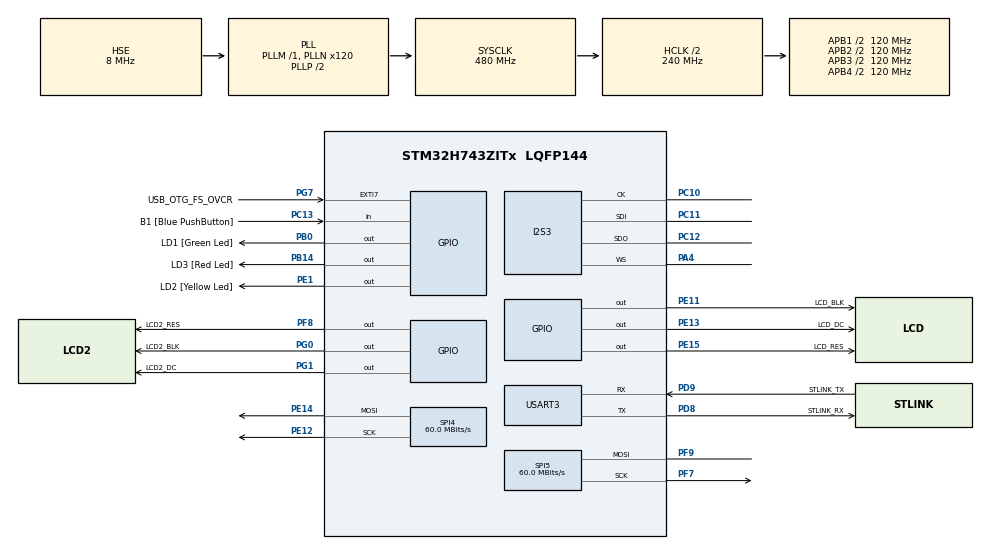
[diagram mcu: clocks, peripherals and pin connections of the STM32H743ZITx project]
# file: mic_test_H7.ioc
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CORTEX_M7.CPU_DCache=Enabled
CORTEX_M7.CPU_ICache=Enabled
Dma.Request0=SPI4_TX
Dma.Request1=SPI5_TX
Dma.Request2=SPI3_RX
Dma.SPI3_RX.2.Direction=DMA_PERIPH_TO_MEMORY
Dma.SPI3_RX.2.EventEnable=DISABLE
Dma.SPI3_RX.2.FIFOMode=DMA_FIFOMODE_DISABLE
Dma.SPI3_RX.2.Instance=DMA1_Stream2
Dma.SPI3_RX.2.MemDataAlignment=DMA_MDATAALIGN_WORD
Dma.SPI3_RX.2.MemInc=DMA_MINC_ENABLE
Dma.SPI3_RX.2.Mode=DMA_CIRCULAR
Dma.SPI3_RX.2.PeriphDataAlignment=DMA_PDATAALIGN_WORD
Dma.SPI3_RX.2.PeriphInc=DMA_PINC_DISABLE
Dma.SPI3_RX.2.Polarity=HAL_DMAMUX_REQ_GEN_RISING
Dma.SPI3_RX.2.Priority=DMA_PRIORITY_LOW
Dma.SPI3_RX.2.RequestNumber=1
Dma.SPI3_RX.2.SignalID=NONE
Dma.SPI3_RX.2.SyncEnable=DISABLE
Dma.SPI3_RX.2.SyncPolarity=HAL_DMAMUX_SYNC_NO_EVENT
Dma.SPI3_RX.2.SyncRequestNumber=1
Dma.SPI3_RX.2.SyncSignalID=NONE
Dma.SPI4_TX.0.Direction=DMA_MEMORY_TO_PERIPH
Dma.SPI4_TX.0.EventEnable=DISABLE
Dma.SPI4_TX.0.FIFOMode=DMA_FIFOMODE_DISABLE
Dma.SPI4_TX.0.Instance=DMA1_Stream0
Dma.SPI4_TX.0.MemDataAlignment=DMA_MDATAALIGN_BYTE
Dma.SPI4_TX.0.MemInc=DMA_MINC_ENABLE
Dma.SPI4_TX.0.Mode=DMA_NORMAL
Dma.SPI4_TX.0.PeriphDataAlignment=DMA_PDATAALIGN_BYTE
Dma.SPI4_TX.0.PeriphInc=DMA_PINC_DISABLE
Dma.SPI4_TX.0.Polarity=HAL_DMAMUX_REQ_GEN_RISING
Dma.SPI4_TX.0.Priority=DMA_PRIORITY_MEDIUM
Dma.SPI4_TX.0.RequestNumber=1
Dma.SPI4_TX.0.SignalID=NONE
Dma.SPI4_TX.0.SyncEnable=DISABLE
Dma.SPI4_TX.0.SyncPolarity=HAL_DMAMUX_SYNC_NO_EVENT
Dma.SPI4_TX.0.SyncRequestNumber=1
Dma.SPI4_TX.0.SyncSignalID=NONE
Dma.SPI5_TX.1.Direction=DMA_MEMORY_TO_PERIPH
Dma.SPI5_TX.1.EventEnable=DISABLE
Dma.SPI5_TX.1.FIFOMode=DMA_FIFOMODE_DISABLE
Dma.SPI5_TX.1.Instance=DMA1_Stream1
Dma.SPI5_TX.1.MemDataAlignment=DMA_MDATAALIGN_BYTE
Dma.SPI5_TX.1.MemInc=DMA_MINC_ENABLE
Dma.SPI5_TX.1.Mode=DMA_NORMAL
Dma.SPI5_TX.1.PeriphDataAlignment=DMA_PDATAALIGN_BYTE
Dma.SPI5_TX.1.PeriphInc=DMA_PINC_DISABLE
Dma.SPI5_TX.1.Polarity=HAL_DMAMUX_REQ_GEN_RISING
Dma.SPI5_TX.1.Priority=DMA_PRIORITY_LOW
Dma.SPI5_TX.1.RequestNumber=1
Dma.SPI5_TX.1.SignalID=NONE
Dma.SPI5_TX.1.SyncEnable=DISABLE
Dma.SPI5_TX.1.SyncPolarity=HAL_DMAMUX_SYNC_NO_EVENT
Dma.SPI5_TX.1.SyncRequestNumber=1
Dma.SPI5_TX.1.SyncSignalID=NONE
I2S3.AudioFreq=I2S_AUDIOFREQ_48K
I2S3.CPOL=I2S_CPOL_LOW
I2S3.Data24BitAlignment=I2S_DATA_24BIT_ALIGNMENT_LEFT
I2S3.DataFormat=I2S_DATAFORMAT_24B
I2S3.ErrorAudioFreq=0.15 %
I2S3.FullDuplexMode=I2S_MODE_MASTER_FD
I2S3.Instance=SPI$Index
I2S3.Mode=I2S_MODE_MASTER_RX
I2S3.RealAudioFreq=48.076 KHz
I2S3.Standard=I2S_STANDARD_PHILIPS
I2S3.VirtualMode=I2S_MODE_MASTER
I2S3.WSInversion=I2S_WS_INVERSION_DISABLE
Mcu.Family=STM32H7
Mcu.Name=STM32H743ZITx
Mcu.Package=LQFP144
NVIC.DMA1_Stream0_IRQn=true\:0\:0\:false\:false\:true\:false\:true
NVIC.DMA1_Stream1_IRQn=true\:0\:0\:false\:false\:true\:false\:true
NVIC.DMA1_Stream2_IRQn=true\:0\:0\:false\:false\:true\:false\:true
NVIC.PriorityGroup=NVIC_PRIORITYGROUP_4
NVIC.SPI4_IRQn=true\:0\:0\:false\:false\:true\:false\:true
NVIC.SPI5_IRQn=true\:0\:0\:false\:false\:true\:false\:true
PA1.Signal=ETH_REF_CLK
PA11.Signal=USB_OTG_FS_DM
PA12.Signal=USB_OTG_FS_DP
PA13\ (JTMS/SWDIO).Mode=Trace_Asynchronous_SW
PA13\ (JTMS/SWDIO).Signal=DEBUG_JTMS-SWDIO
PA14\ (JTCK/SWCLK).Mode=Trace_Asynchronous_SW
PA14\ (JTCK/SWCLK).Signal=DEBUG_JTCK-SWCLK
PA2.Signal=ETH_MDIO
PA4.Mode=Full_Duplex_Master
PA4.Signal=I2S3_WS
PA7.Signal=ETH_CRS_DV
PA8.Signal=USB_OTG_FS_SOF
PA9.Signal=USB_OTG_FS_VBUS
PB0.GPIO_Label=LD1 [Green Led]
PB0.Signal=GPIO_Output
PB10.Signal=I2S2_CK
PB14.GPIO_Label=LD3 [Red Led]
PB14.Signal=GPIO_Output
PB15.Signal=I2S2_SDO
PB3\ (JTDO/TRACESWO).Mode=Trace_Asynchronous_SW
PB3\ (JTDO/TRACESWO).Signal=DEBUG_JTDO-SWO
PC1.Signal=ETH_MDC
PC10.Mode=Full_Duplex_Master
PC10.Signal=I2S3_CK
PC11.Mode=Full_Duplex_Master
PC11.Signal=I2S3_SDI
PC12.GPIO_PuPd=GPIO_PULLDOWN
PC12.Mode=Full_Duplex_Master
PC12.Signal=I2S3_SDO
PC13.GPIO_Label=B1 [Blue PushButton]
PC13.Signal=GPIO_Input
PC14-OSC32_IN\ (OSC32_IN).Signal=RCC_OSC32_IN
PC15-OSC32_OUT\ (OSC32_OUT).Signal=RCC_OSC32_OUT
PC4.Signal=ETH_RXD0
PC5.Signal=ETH_RXD1
PD8.GPIO_Label=STLINK_RX
PD8.Mode=Asynchronous
PD8.Signal=USART3_TX
PD9.GPIO_Label=STLINK_TX
PD9.Mode=Asynchronous
PD9.Signal=USART3_RX
PE1.GPIO_Label=LD2 [Yellow Led]
PE1.GPIO_PuPd=GPIO_NOPULL
PE1.Signal=GPIO_Output
PE11.GPIO_Label=LCD_BLK
PE11.GPIO_PuPd=GPIO_PULLDOWN
PE11.GPIO_Speed=GPIO_SPEED_FREQ_MEDIUM
PE11.Signal=GPIO_Output
PE12.GPIO_PuPd=GPIO_PULLUP
PE12.GPIO_Speed=GPIO_SPEED_FREQ_MEDIUM
PE12.Mode=TX_Only_Simplex_Unidirect_Master
PE12.Signal=SPI4_SCK
PE13.GPIO_Label=LCD_DC
PE13.GPIO_PuPd=GPIO_PULLDOWN
PE13.GPIO_Speed=GPIO_SPEED_FREQ_MEDIUM
PE13.Signal=GPIO_Output
PE14.GPIO_PuPd=GPIO_PULLUP
PE14.GPIO_Speed=GPIO_SPEED_FREQ_MEDIUM
PE14.Mode=TX_Only_Simplex_Unidirect_Master
PE14.Signal=SPI4_MOSI
PE15.GPIO_Label=LCD_RES
PE15.GPIO_PuPd=GPIO_PULLDOWN
PE15.GPIO_Speed=GPIO_SPEED_FREQ_MEDIUM
PE15.Signal=GPIO_Output
PF7.GPIO_PuPd=GPIO_PULLUP
PF7.GPIO_Speed=GPIO_SPEED_FREQ_MEDIUM
PF7.Mode=Simplex_Bidirectional_Master
PF7.Signal=SPI5_SCK
PF8.GPIO_Label=LCD2_RES
PF8.GPIO_PuPd=GPIO_PULLDOWN
PF8.GPIO_Speed=GPIO_SPEED_FREQ_HIGH
PF8.Signal=GPIO_Output
PF9.GPIO_PuPd=GPIO_PULLUP
PF9.GPIO_Speed=GPIO_SPEED_FREQ_MEDIUM
PF9.Mode=Simplex_Bidirectional_Master
PF9.Signal=SPI5_MOSI
PG0.GPIO_Label=LCD2_BLK
PG0.GPIO_PuPd=GPIO_PULLDOWN
PG0.GPIO_Speed=GPIO_SPEED_FREQ_HIGH
PG0.Signal=GPIO_Output
PG1.GPIO_Label=LCD2_DC
PG1.GPIO_PuPd=GPIO_PULLDOWN
PG1.GPIO_Speed=GPIO_SPEED_FREQ_HIGH
PG1.Signal=GPIO_Output
PG11.Signal=ETH_TX_EN
PG13.Signal=ETH_TXD0
PG7.GPIO_Label=USB_OTG_FS_OVCR
PG7.Signal=GPXTI7
PH0-OSC_IN\ (PH0).Mode=HSE-External-Oscillator
PH0-OSC_IN\ (PH0).Signal=RCC_OSC_IN
PH1-OSC_OUT\ (PH1).Mode=HSE-External-Oscillator
PH1-OSC_OUT\ (PH1).Signal=RCC_OSC_OUT
ProjectManager.HeapSize=0x2000
ProjectManager.StackSize=0x4000
ProjectManager.TargetToolchain=STM32CubeIDE
RCC.ADCFreq_Value=96000000
RCC.APB1Freq_Value=120000000
RCC.APB2Freq_Value=120000000
RCC.APB3Freq_Value=120000000
RCC.APB4Freq_Value=120000000
RCC.CortexFreq_Value=480000000
RCC.D1PPRE=RCC_APB3_DIV2
RCC.D2PPRE1=RCC_APB1_DIV2
RCC.D2PPRE2=RCC_APB2_DIV2
RCC.D3PPRE=RCC_APB4_DIV2
RCC.DIVM1=1
RCC.DIVM2=1
RCC.DIVN1=120
RCC.DIVN2=24
RCC.HCLKFreq_Value=240000000
RCC.HPRE=RCC_HCLK_DIV2
RCC.HSE_VALUE=8000000
RCC.PLL2FRACN=0
RCC.PLL3FRACN=0
RCC.PLLFRACN=0
RCC.PLLSourceVirtual=RCC_PLLSOURCE_HSE
RCC.SYSCLKFreq_VALUE=480000000
RCC.SYSCLKSource=RCC_SYSCLKSOURCE_PLLCLK
RCC.USBFreq_Value=480000000
SPI4.BaudRatePrescaler=SPI_BAUDRATEPRESCALER_2
SPI4.CLKPhase=SPI_PHASE_2EDGE
SPI4.CLKPolarity=SPI_POLARITY_HIGH
SPI4.CalculateBaudRate=60.0 MBits/s
SPI4.DataSize=SPI_DATASIZE_8BIT
SPI4.Direction=SPI_DIRECTION_2LINES_TXONLY
SPI4.FifoThreshold=SPI_FIFO_THRESHOLD_01DATA
SPI4.MasterInterDataIdleness=SPI_MASTER_INTERDATA_IDLENESS_00CYCLE
SPI4.Mode=SPI_MODE_MASTER
SPI4.VirtualType=VM_MASTER
SPI5.BaudRatePrescaler=SPI_BAUDRATEPRESCALER_2
SPI5.CLKPhase=SPI_PHASE_2EDGE
SPI5.CLKPolarity=SPI_POLARITY_HIGH
SPI5.CalculateBaudRate=60.0 MBits/s
SPI5.DataSize=SPI_DATASIZE_8BIT
SPI5.Direction=SPI_DIRECTION_1LINE
SPI5.MasterInterDataIdleness=SPI_MASTER_INTERDATA_IDLENESS_00CYCLE
SPI5.Mode=SPI_MODE_MASTER
SPI5.VirtualType=VM_MASTER
USART3.VirtualMode-Asynchronous=VM_ASYNC
board=NUCLEO-H743ZI2

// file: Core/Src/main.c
/* USER CODE BEGIN Header */
/**
 ******************************************************************************
 * @file           : main.c
 * @brief          : Main program body
 ******************************************************************************
 * @attention
 *
 * <h2><center>&copy; Copyright (c) 2020 STMicroelectronics.
 * All rights reserved.</center></h2>
 *
 * This software component is licensed by ST under BSD 3-Clause license,
 * the "License"; You may not use this file except in compliance with the
 * License. You may obtain a copy of the License at:
 *                        opensource.org/licenses/BSD-3-Clause
 *
 ******************************************************************************
 */
/* USER CODE END Header */
#include "main.h"
#include "dma.h"
#include "i2s.h"
#include "spi.h"
#include "usart.h"
#include "gpio.h"

/* USER CODE BEGIN Includes */
#include "st7789.h"
#include "perlin_noise.h"
/* USER CODE END Includes */

/* USER CODE BEGIN PTD */

void uart_send_char(u8 val)
    {
    HAL_UART_Transmit(&huart3, &val, 1, 0xFFFF);
    }

void Uart_IntWrite(s32 value)
    {
    s32 i;

    if (value < 0)
	{
	uart_send_char('-');
	value = -value;
	}

    i = 1;
    while ((value / i) > 9)
	{
	i *= 10;
	}

    uart_send_char(value / i + '0'); /* Display at least one symbol */
    i /= 10;

    while (i > 0)
	{
	uart_send_char('0' + ((value % (i * 10)) / i));
	i /= 10;
	}
    }
/* USER CODE END PTD */

/* USER CODE BEGIN PM */
uint32_t PCM_rx_buf[128];
/* USER CODE END PM */

/* USER CODE BEGIN PV */
volatile u32 flag = 0;
void HAL_I2S_RxCpltCallback(I2S_HandleTypeDef *hi2s)
    {
    flag = 1;
//    LD3_GPIO_Port->ODR &= ~ LD3_Pin;
//    HAL_Delay(1);
//    for (u32 i = 0;i<128;i++)
//	{
//	if (PCM_rx_buf[i] != 0)
//	    {
//	    LD3_GPIO_Port->ODR ^= LD3_Pin;
//	    }
//	}
//    LD2_GPIO_Port->ODR ^= LD2_Pin;
    }
/* USER CODE END PV */

void SystemClock_Config(void);
/* USER CODE BEGIN PFP */
LCD_str LCD1;
LCD_str LCD2;
/* USER CODE END PFP */

int main(void)
{

  /* Enable I-Cache---------------------------------------------------------*/
  SCB_EnableICache();

  /* Enable D-Cache---------------------------------------------------------*/
  SCB_EnableDCache();

  /* MCU Configuration--------------------------------------------------------*/

  /* Reset of all peripherals, Initializes the Flash interface and the Systick. */
  HAL_Init();

  /* Configure the system clock */
  SystemClock_Config();

  /* Initialize all configured peripherals */
  MX_GPIO_Init();
  MX_DMA_Init();
  MX_USART3_UART_Init();
  MX_I2S3_Init();
  MX_SPI4_Init();
  MX_SPI5_Init();
  /* USER CODE BEGIN 2 */
    LCD1.LCD_blk_pin = LCD_BLK_Pin;
    LCD1.LCD_dc_pin = LCD_DC_Pin;
    LCD1.LCD_res_pin = LCD_RES_Pin;
    LCD1.LCD_blk_port = LCD_BLK_GPIO_Port;
    LCD1.LCD_dc_port = LCD_DC_GPIO_Port;
    LCD1.LCD_res_port = LCD_RES_GPIO_Port;
    LCD1.spi_str = &hspi4;

    LCD2.LCD_blk_pin = LCD2_BLK_Pin;
    LCD2.LCD_dc_pin = LCD2_DC_Pin;
    LCD2.LCD_res_pin = LCD2_RES_Pin;
    LCD2.LCD_blk_port = LCD2_BLK_GPIO_Port;
    LCD2.LCD_dc_port = LCD2_DC_GPIO_Port;
    LCD2.LCD_res_port = LCD2_RES_GPIO_Port;
    LCD2.spi_str = &hspi5;
    HAL_Delay(10);
    ST7789_Init(&LCD1);
    ST7789_Init(&LCD2);
//  SPI3->I2SCFGR |= SPI_I2SCFGR_CKPOL;
    HAL_I2S_Receive_DMA(&hi2s3, (u16*)PCM_rx_buf, 128 * 2);
  /* USER CODE END 2 */

  /* Infinite loop */
  /* USER CODE BEGIN WHILE */
    // u16 i = 1;
    for (volatile u16 x = 0; x < 240; x++)
	{
	for (u16 y = 0; y < 240; y++)
	    {
	    u8 r = (u8) ((Noise(x * 0.01, y * 0.01) + 0.5) * 0xF7);
	    u8 g = (u8) ((Noise(x * 0.1, y * 0.1) + 0.5) * 0xF7);
	    u8 b = (u8) ((Noise(x * 0.03, y * 0.03) + 0.5) * 0xF7);

	    ST7789_DrawPixel(x, y,
		    RGB565(Noise_treshold(r, 200, 250, -100, 255),
			    Noise_treshold(r, 150, 200, 255, 0),
			    Noise_treshold(r, 0, 150, 255, 0)), &LCD1);
//	    ST7789_DrawPixel(x, y,
//		    HSV_to_RGB565(
//			    Noise_combine(0.1, 0, 0.51, 0, 0.03, 0.7, 360, x, y)
//				    , 255, 220), &LCD1);
	    ST7789_DrawPixel(x, y,
		    HSV_to_RGB565(250, 200,
			    Noise_combine(0.1, 0, 0.51, 0, 0.017, 1, 255, x,
				    y)), &LCD2);
	    }
	}
    u16 color_buf[240] =
	{
	0
	};
//
//    u32 y_ord = 0;
//    u32 x_ord = 0;
//    float Noise_k = 0.03;
    uint16_t data_in[2];
    while (1)
	{
	if (flag != 0)
	    {
	    flag = 0;
	    for (u32 i = 0; i < 32; i++)
		{
		Uart_IntWrite(PCM_rx_buf[i]);
		uart_send_char('\n');
		}
	    uart_send_char('\n');
	    //HAL_I2S_Receive_DMA(&hi2s3, (u16*) PCM_rx_buf, 128);
	    LD1_GPIO_Port->ODR ^= LD1_Pin;
	    }
//	HAL_I2S_Receive_DMA(&hi2s3, PCM_rx_buf, 128);
//	volatile HAL_StatusTypeDef result = HAL_I2S_Receive_DMA(&hi2s3,
//		(u16*) PCM_rx_buf, 128);//, 100);
//	if (result == HAL_OK)
//	    {
//	    volatile int32_t data_full = (int32_t) PCM_rx_buf[0] << 16
//		    | PCM_rx_buf[1];
//	    if (data_full < 50000)
//		{
//		LD2_GPIO_Port->ODR |= LD2_Pin;
//		}
//	    else
//		{
//		LD2_GPIO_Port->ODR &= ~ LD2_Pin;
//		}
//	    if (data_full > 50000)
//		{
//		LD3_GPIO_Port->ODR |= LD3_Pin;
//		}
//	    else
//		{
//		LD3_GPIO_Port->ODR &= ~ LD3_Pin;
//		}
//	    color_buf[data_full / 500] = MAGENTA;
//	    //ST7789_FillLine(10, color_buf, &LCD1);
//	    for (u32 i = 0; i < 32; i++)
//		{
//		Uart_IntWrite(PCM_rx_buf[i * 2]);
//		uart_send_char('\n');
//		}
//
//	    }
//	LD1_GPIO_Port->ODR ^= LD1_Pin;
//	HAL_Delay(500);

//	for (u32 i = 0; i < 240; i++)
//	    {
//	    Generate_NoiseLine(i, 0 + y_ord, color_buf);
//	    ST7789_FillLine(i, color_buf, &LCD1);
//	    Generate_NoiseLine(i, 240 + y_ord, color_buf);
//	    ST7789_FillLine(i, color_buf, &LCD2);
//	    //HAL_Delay(1);
//	    }
//	//x_ord = x_ord + 3;
//	y_ord = y_ord + 4;

//	HAL_I2S_Receive(&hi2s3, &PCM_rx_buf[0], sizeof(PCM_rx_buf), 0xFF);
//	for (u16 i = 0; i < 128; i++)
//	    {
//	    if (PCM_rx_buf[i] != 0)
//		{
//		dat = PCM_rx_buf[i];
//		LD3_GPIO_Port->ODR |= LD3_Pin;
//		}
//	    }
//	switch (i)
//	    {
//	case 1:
//	    i = 2;
//	    ST7789_FillScreen(RGB565(0xFF, 0, 0), &LCD1);
//	    // HAL_Delay(500);
//	    ST7789_FillScreen(RGB565(0xFF, 0, 0), &LCD2);
//	    HAL_Delay(500);
//	    break;
//	case 2:
//	    i = 3;
//	    ST7789_FillScreen(RGB565(0, 0xFF, 0), &LCD1);
//	    // HAL_Delay(500);
//	    ST7789_FillScreen(RGB565(0, 0xFF, 0), &LCD2);
//	    HAL_Delay(500);
//	    break;
//	case 3:
//	    i = 4;
//	    ST7789_FillScreen(RGB565(0, 0, 0xFF), &LCD1);
//	    //HAL_Delay(500);
//	    ST7789_FillScreen(RGB565(0, 0, 0xFF), &LCD2);
//	    HAL_Delay(500);
//	    break;
//	case 4:
//	    i = 1;
//	    ST7789_FillScreen(RGB565(0, 0xFF, 0xFF), &LCD1);
//	    //   HAL_Delay(500);
//	    ST7789_FillScreen(RGB565(0, 0xFF, 0xFF), &LCD2);
//	    HAL_Delay(500);
//	    break;
//	default:
//	    break;
//	    }

    /* USER CODE END WHILE */

	}
}

void SystemClock_Config(void)
{
  RCC_OscInitTypeDef RCC_OscInitStruct = {0};
  RCC_ClkInitTypeDef RCC_ClkInitStruct = {0};
  RCC_PeriphCLKInitTypeDef PeriphClkInitStruct = {0};

  /** Supply configuration update enable
  */
  HAL_PWREx_ConfigSupply(PWR_LDO_SUPPLY);
  /** Configure the main internal regulator output voltage
  */
  __HAL_PWR_VOLTAGESCALING_CONFIG(PWR_REGULATOR_VOLTAGE_SCALE0);

  while(!__HAL_PWR_GET_FLAG(PWR_FLAG_VOSRDY)) {}
  /** Initializes the RCC Oscillators according to the specified parameters
  * in the RCC_OscInitTypeDef structure.
  */
  RCC_OscInitStruct.OscillatorType = RCC_OSCILLATORTYPE_HSE;
  RCC_OscInitStruct.HSEState = RCC_HSE_ON;
  RCC_OscInitStruct.PLL.PLLState = RCC_PLL_ON;
  RCC_OscInitStruct.PLL.PLLSource = RCC_PLLSOURCE_HSE;
  RCC_OscInitStruct.PLL.PLLM = 1;
  RCC_OscInitStruct.PLL.PLLN = 120;
  RCC_OscInitStruct.PLL.PLLP = 2;
  RCC_OscInitStruct.PLL.PLLQ = 2;
  RCC_OscInitStruct.PLL.PLLR = 2;
  RCC_OscInitStruct.PLL.PLLRGE = RCC_PLL1VCIRANGE_3;
  RCC_OscInitStruct.PLL.PLLVCOSEL = RCC_PLL1VCOWIDE;
  RCC_OscInitStruct.PLL.PLLFRACN = 0;
  if (HAL_RCC_OscConfig(&RCC_OscInitStruct) != HAL_OK)
  {
    Error_Handler();
  }
  /** Initializes the CPU, AHB and APB buses clocks
  */
  RCC_ClkInitStruct.ClockType = RCC_CLOCKTYPE_HCLK|RCC_CLOCKTYPE_SYSCLK
                              |RCC_CLOCKTYPE_PCLK1|RCC_CLOCKTYPE_PCLK2
                              |RCC_CLOCKTYPE_D3PCLK1|RCC_CLOCKTYPE_D1PCLK1;
  RCC_ClkInitStruct.SYSCLKSource = RCC_SYSCLKSOURCE_PLLCLK;
  RCC_ClkInitStruct.SYSCLKDivider = RCC_SYSCLK_DIV1;
  RCC_ClkInitStruct.AHBCLKDivider = RCC_HCLK_DIV2;
  RCC_ClkInitStruct.APB3CLKDivider = RCC_APB3_DIV2;
  RCC_ClkInitStruct.APB1CLKDivider = RCC_APB1_DIV2;
  RCC_ClkInitStruct.APB2CLKDivider = RCC_APB2_DIV2;
  RCC_ClkInitStruct.APB4CLKDivider = RCC_APB4_DIV2;

  if (HAL_RCC_ClockConfig(&RCC_ClkInitStruct, FLASH_LATENCY_4) != HAL_OK)
  {
    Error_Handler();
  }
  PeriphClkInitStruct.PeriphClockSelection = RCC_PERIPHCLK_USART3|RCC_PERIPHCLK_SPI5
                              |RCC_PERIPHCLK_SPI4|RCC_PERIPHCLK_SPI3;
  PeriphClkInitStruct.Spi123ClockSelection = RCC_SPI123CLKSOURCE_PLL;
  PeriphClkInitStruct.Spi45ClockSelection = RCC_SPI45CLKSOURCE_D2PCLK1;
  PeriphClkInitStruct.Usart234578ClockSelection = RCC_USART234578CLKSOURCE_D2PCLK1;
  if (HAL_RCCEx_PeriphCLKConfig(&PeriphClkInitStruct) != HAL_OK)
  {
    Error_Handler();
  }
}

void Error_Handler(void)
{
}

/************************ (C) COPYRIGHT STMicroelectronics *****END OF FILE****/
